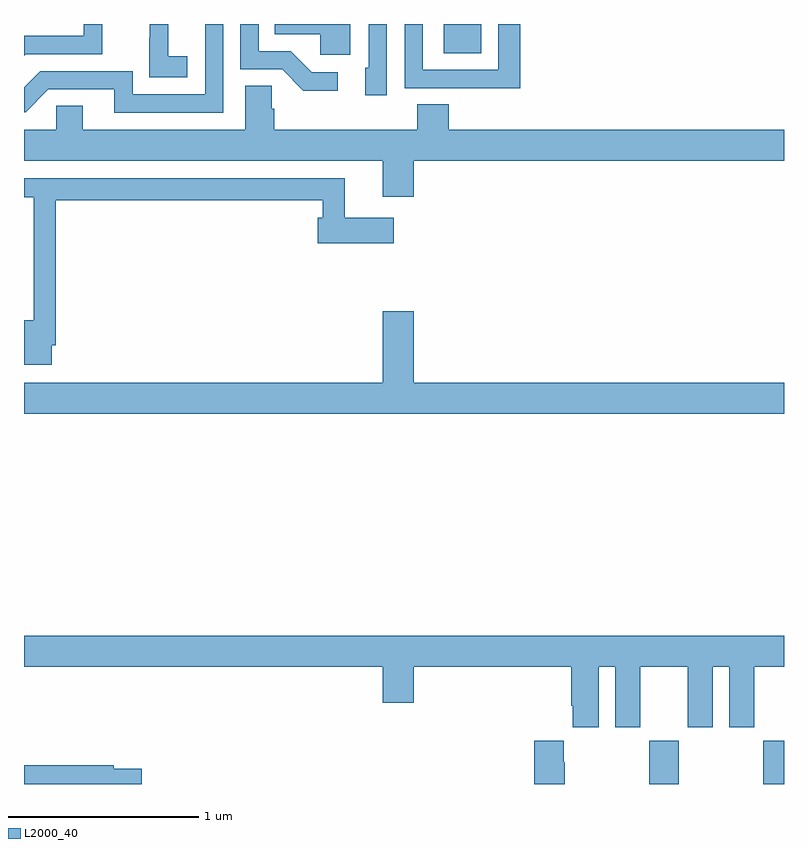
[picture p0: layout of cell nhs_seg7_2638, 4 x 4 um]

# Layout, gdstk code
import gdstk
lib = gdstk.Library(unit=1e-6, precision=1e-09)
def R(c, l, rs):  # rectangles x0, y0, x1, y1
    for r in rs: c.add(gdstk.rectangle(r[:2], r[2:], *l))
def P(c, l, *ps):  # polygons
    for p in ps: c.add(gdstk.Polygon(p, *l))
L2000_40 = (2000, 40)

nhs_seg7_2638 = lib.new_cell('nhs_seg7_2638')
R(nhs_seg7_2638, L2000_40, [(286.291,1000,286.446,1000.228), (286.891,1000,287,1000.228), (285.209,1003.847,285.406,1004)])
P(nhs_seg7_2638, L2000_40, [(283.858,1003.831),(283.76,1003.831),(283.76,1004),(283.661,1004),(283.661,1003.927),(283.66,1003.927),(283.66,1003.721),(283.858,1003.721)],
  [(285.611,1004),(285.495,1004),(285.495,1003.758),(285.099,1003.758),(285.099,1004),(285.003,1004),(285.003,1003.662),(285.319,1003.662),(285.319,1003.661),(285.611,1003.661)],
  [(284.91,1004),(284.814,1004),(284.814,1003.77),(284.795,1003.77),(284.795,1003.626),(284.91,1003.626)],
  [(284.049,1004),(283.953,1004),(283.953,1003.629),(283.572,1003.629),(283.572,1003.752),(283.086,1003.752),(283,1003.666),(283,1003.536),(283.008,1003.536),(283.128,1003.656),(283.475,1003.656),(283.475,1003.533),(284.049,1003.533)],
  [(284.65,1003.746),(284.515,1003.746),(284.404,1003.857),(284.235,1003.857),(284.235,1004),(284.139,1004),(284.139,1003.761),(284.358,1003.761),(284.471,1003.649),(284.65,1003.649)],
  [(284.716,1004),(284.32,1004),(284.32,1003.946),(284.559,1003.946),(284.559,1003.838),(284.716,1003.838)],
  [(283.009,1003.842),(283.413,1003.842),(283.413,1004),(283.314,1004),(283.314,1003.938),(283,1003.938),(283,1003.833)],
  [(285.052,1003.28),(287,1003.28),(287,1003.444),(285.236,1003.444),(285.236,1003.577),(285.071,1003.577),(285.071,1003.444),(284.318,1003.444),(284.318,1003.553),(284.304,1003.553),(284.304,1003.676),(284.165,1003.676),(284.165,1003.444),(283.309,1003.444),(283.309,1003.571),(283.17,1003.571),(283.17,1003.444),(283,1003.444),(283,1003.28),(284.888,1003.28),(284.888,1003.092),(285.052,1003.092)],
  [(283.147,1002.31),(283.166,1002.31),(283.166,1003.072),(284.573,1003.072),(284.573,1002.979),(284.546,1002.979),(284.546,1002.845),(284.947,1002.845),(284.947,1002.979),(284.687,1002.979),(284.687,1003.188),(283,1003.188),(283,1003.088),(283.05,1003.088),(283.05,1002.442),(283,1002.442),(283,1002.206),(283.147,1002.206)],
  [(287,1002.112),(285.052,1002.112),(285.052,1002.487),(284.888,1002.487),(284.888,1002.112),(283,1002.112),(283,1001.948),(287,1001.948)],
  [(286.024,1000.616),(286.112,1000.616),(286.112,1000.299),(286.243,1000.299),(286.243,1000.616),(286.493,1000.616),(286.493,1000.299),(286.624,1000.299),(286.624,1000.616),(286.712,1000.616),(286.712,1000.299),(286.843,1000.299),(286.843,1000.616),(287,1000.616),(287,1000.78),(283,1000.78),(283,1000.616),(284.888,1000.616),(284.888,1000.428),(285.052,1000.428),(285.052,1000.616),(285.881,1000.616),(285.881,1000.411),(285.887,1000.411),(285.887,1000.299),(286.024,1000.299)],
  [(285.846,1000.115),(285.841,1000.115),(285.841,1000.228),(285.686,1000.228),(285.686,1000),(285.846,1000)],
  [(283.619,1000.08),(283.472,1000.08),(283.472,1000.1),(283,1000.1),(283,1000),(283.619,1000)])

lib.write_gds('nhs_seg7_2638.gds')
